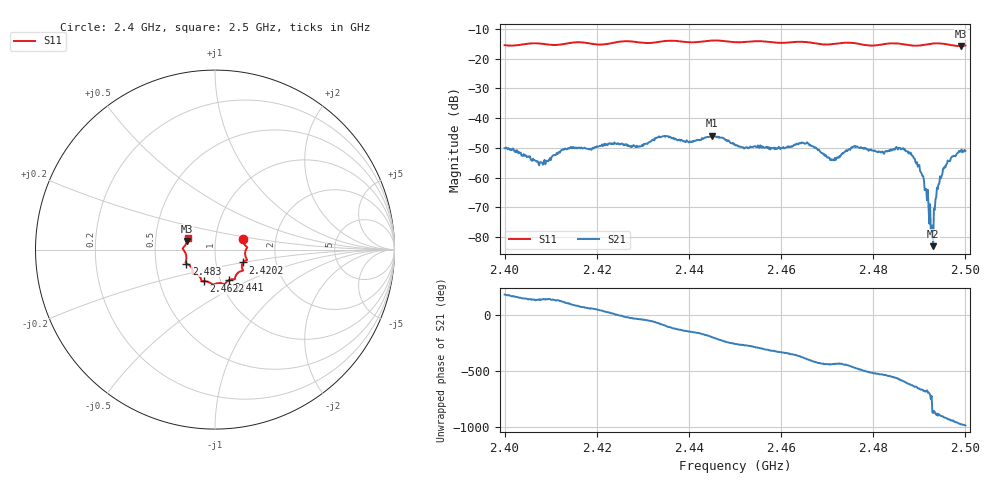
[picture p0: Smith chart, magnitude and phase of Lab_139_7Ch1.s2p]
# Hz S RI R 50
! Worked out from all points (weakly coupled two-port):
!   601 points, 2.4 GHz to 2.5 GHz, reference 50 ohm
!   highest |S21| = -45.95 dB at 2.445 GHz (marker M1); lowest = -83.0 dB at 2.493 GHz (marker M2)
!   lowest |S11| = -15.8 dB at 2.499 GHz (marker M3), VSWR 1.39, Z = 36.5 + j3.65 ohm
!   |S11| at or under -10 dB: start of sweep to end of sweep
!   S12 and S22 are empty: the file has one direction only
!   S11 on the Smith chart (normalised r, x): 2.4 GHz: 1.36, +0.17; 2.4202 GHz: 1.35, -0.20; 2.441 GHz: 1.10, -0.39; 2.4622 GHz: 0.83, -0.30; 2.483 GHz: 0.72, -0.12; 2.5 GHz: 0.73, +0.09
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2.4e9  0.1563 0.0604  -0.00311 4.73e-05  0 0  0 0
2.408e9  0.1772 0.00801  -0.00128 0.00129  0 0  0 0
2.416667e9  0.1776 -0.0584  0.00117 0.00299  0 0  0 0
2.420167e9  0.1562 -0.0718  0.00239 0.00228  0 0  0 0
2.433333e9  0.1131 -0.1522  0.00125 -0.00462  0 0  0 0
2.441e9  0.077 -0.1705  -0.00369 -0.00157  0 0  0 0
2.445e9  0.0543 -0.1929  -0.00472 0.00177  0 0  0 0
2.45e9  0.0267 -0.1862  -0.000539 0.00349  0 0  0 0
2.462167e9  -0.0632 -0.1766  0.0033 0.000509  0 0  0 0
2.466667e9  -0.0767 -0.1668  0.0021 -0.00263  0 0  0 0
2.471e9  -0.1058 -0.138  0.000279 -0.00193  0 0  0 0
2.475833e9  -0.1253 -0.1315  -0.0012 -0.00311  0 0  0 0
2.483e9  -0.1592 -0.0781  -0.00274 8.33e-05  0 0  0 0
2.483333e9  -0.1609 -0.0775  -0.00278 0.000232  0 0  0 0
2.488667e9  -0.1597 -0.0394  0.000142 0.00224  0 0  0 0
2.4905e9  -0.1661 -0.016  0.000709 0.000927  0 0  0 0
2.4925e9  -0.177 0.000606  0.000107 -6.2e-05  0 0  0 0
2.493e9  -0.1788 0.00323  -6.38e-05 -2.99e-05  0 0  0 0
2.494e9  -0.1798 0.00701  -0.000642 -5.98e-06  0 0  0 0
2.495e9  -0.1775 0.0105  -0.00115 7.49e-05  0 0  0 0
2.499e9  -0.1546 0.0487  -0.000658 0.00267  0 0  0 0
2.5e9  -0.1529 0.0626  -0.000201 0.00281  0 0  0 0
